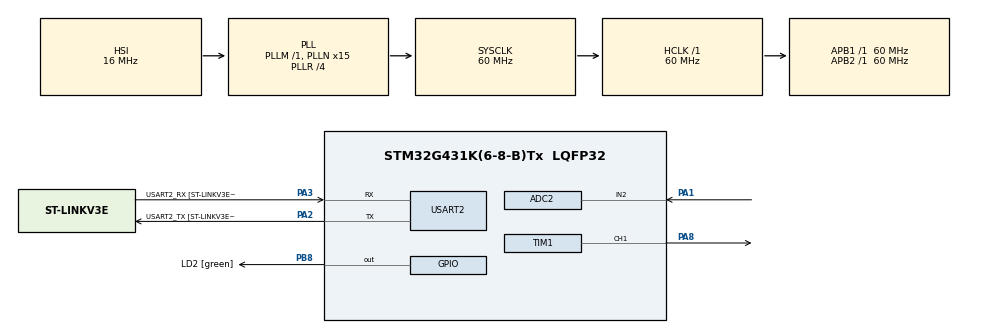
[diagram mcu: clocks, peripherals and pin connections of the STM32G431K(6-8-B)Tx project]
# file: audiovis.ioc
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ADC2.Channel-4\#ChannelRegularConversion=ADC_CHANNEL_2
ADC2.ClockPrescaler=ADC_CLOCK_ASYNC_DIV1
ADC2.ContinuousConvMode=DISABLE
ADC2.DMAContinuousRequests=ENABLE
ADC2.EnableRegularConversion=ENABLE
ADC2.ExternalTrigConv=ADC_EXTERNALTRIG_T2_TRGO
ADC2.ExternalTrigConvEdge=ADC_EXTERNALTRIGCONVEDGE_RISING
ADC2.NbrOfConversionFlag=1
ADC2.OffsetNumber-4\#ChannelRegularConversion=ADC_OFFSET_NONE
ADC2.OversamplingMode=DISABLE
ADC2.Rank-4\#ChannelRegularConversion=1
ADC2.SamplingTime-4\#ChannelRegularConversion=ADC_SAMPLETIME_2CYCLES_5
Dma.ADC2.0.Direction=DMA_PERIPH_TO_MEMORY
Dma.ADC2.0.EventEnable=DISABLE
Dma.ADC2.0.Instance=DMA1_Channel2
Dma.ADC2.0.MemDataAlignment=DMA_MDATAALIGN_HALFWORD
Dma.ADC2.0.MemInc=DMA_MINC_ENABLE
Dma.ADC2.0.Mode=DMA_CIRCULAR
Dma.ADC2.0.PeriphDataAlignment=DMA_PDATAALIGN_HALFWORD
Dma.ADC2.0.PeriphInc=DMA_PINC_DISABLE
Dma.ADC2.0.Polarity=HAL_DMAMUX_REQ_GEN_RISING
Dma.ADC2.0.Priority=DMA_PRIORITY_HIGH
Dma.ADC2.0.RequestNumber=1
Dma.ADC2.0.SignalID=NONE
Dma.ADC2.0.SyncEnable=DISABLE
Dma.ADC2.0.SyncPolarity=HAL_DMAMUX_SYNC_NO_EVENT
Dma.ADC2.0.SyncRequestNumber=1
Dma.ADC2.0.SyncSignalID=NONE
Dma.Request0=ADC2
Dma.Request1=TIM1_CH1
Dma.TIM1_CH1.1.Direction=DMA_MEMORY_TO_PERIPH
Dma.TIM1_CH1.1.EventEnable=DISABLE
Dma.TIM1_CH1.1.Instance=DMA1_Channel1
Dma.TIM1_CH1.1.MemDataAlignment=DMA_MDATAALIGN_HALFWORD
Dma.TIM1_CH1.1.MemInc=DMA_MINC_ENABLE
Dma.TIM1_CH1.1.Mode=DMA_NORMAL
Dma.TIM1_CH1.1.PeriphDataAlignment=DMA_PDATAALIGN_HALFWORD
Dma.TIM1_CH1.1.PeriphInc=DMA_PINC_DISABLE
Dma.TIM1_CH1.1.Polarity=HAL_DMAMUX_REQ_GEN_RISING
Dma.TIM1_CH1.1.Priority=DMA_PRIORITY_HIGH
Dma.TIM1_CH1.1.RequestNumber=1
Dma.TIM1_CH1.1.SignalID=NONE
Dma.TIM1_CH1.1.SyncEnable=DISABLE
Dma.TIM1_CH1.1.SyncPolarity=HAL_DMAMUX_SYNC_NO_EVENT
Dma.TIM1_CH1.1.SyncRequestNumber=1
Dma.TIM1_CH1.1.SyncSignalID=NONE
Mcu.Family=STM32G4
Mcu.Name=STM32G431K(6-8-B)Tx
Mcu.Package=LQFP32
NVIC.DMA1_Channel1_IRQn=true\:0\:0\:false\:false\:true\:false\:true\:true
NVIC.DMA1_Channel2_IRQn=true\:0\:0\:false\:false\:true\:false\:true\:true
NVIC.PriorityGroup=NVIC_PRIORITYGROUP_4
PA1.Mode=IN2-Single-Ended
PA1.Signal=ADC2_IN2
PA13.GPIO_Label=T_SWDIO
PA13.Mode=Serial_Wire
PA13.Signal=SYS_JTMS-SWDIO
PA14.GPIO_Label=T_SWCLK
PA14.Mode=Serial_Wire
PA14.Signal=SYS_JTCK-SWCLK
PA2.GPIO_Label=USART2_TX [ST-LINKV3E_VCP_RX]
PA2.Mode=Asynchronous
PA2.Signal=USART2_TX
PA3.GPIO_Label=USART2_RX [ST-LINKV3E_VCP_TX]
PA3.Mode=Asynchronous
PA3.Signal=USART2_RX
PA8.Signal=S_TIM1_CH1
PB3.GPIO_Label=T_SWO
PB3.Signal=SYS_JTDO-SWO
PB8-BOOT0.GPIO_Label=LD2 [green]
PB8-BOOT0.Signal=GPIO_Output
ProjectManager.HeapSize=0x200
ProjectManager.StackSize=0x400
ProjectManager.TargetToolchain=STM32CubeIDE
RCC.ADC12Freq_Value=60000000
RCC.AHBFreq_Value=60000000
RCC.APB1Freq_Value=60000000
RCC.APB1TimFreq_Value=60000000
RCC.APB2Freq_Value=60000000
RCC.APB2TimFreq_Value=60000000
RCC.CortexFreq_Value=60000000
RCC.EXTERNAL_CLOCK_VALUE=12288000
RCC.HCLKFreq_Value=60000000
RCC.HSE_VALUE=8000000
RCC.HSI48_VALUE=48000000
RCC.HSI_VALUE=16000000
RCC.LSE_VALUE=32768
RCC.PLLN=15
RCC.PLLR=RCC_PLLR_DIV4
RCC.SYSCLKFreq_VALUE=60000000
RCC.SYSCLKSource=RCC_SYSCLKSOURCE_PLLCLK
RCC.USBFreq_Value=120000000
RCC.VCOOutputFreq_Value=240000000
SH.S_TIM1_CH1.0=TIM1_CH1,PWM Generation1 CH1
TIM1.Channel-PWM\ Generation1\ CH1=TIM_CHANNEL_1
TIM1.PeriodNoDither=75-1
TIM2.PeriodNoDither=1814
TIM2.TIM_MasterOutputTrigger=TIM_TRGO_UPDATE
USART2.VirtualMode-Asynchronous=VM_ASYNC
USART2.WordLength=WORDLENGTH_8B
VP_TIM1_VS_ClockSourceINT.Mode=Internal
VP_TIM2_VS_ClockSourceINT.Mode=Internal
board=NUCLEO-G431KB

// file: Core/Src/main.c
/* USER CODE BEGIN Header */
/**
 ******************************************************************************
 * @file           : main.c
 * @brief          : Main program body
 ******************************************************************************
 * @attention
 *
 * Copyright (c) 2023 STMicroelectronics.
 * All rights reserved.
 *
 * This software is licensed under terms that can be found in the LICENSE file
 * in the root directory of this software component.
 * If no LICENSE file comes with this software, it is provided AS-IS.
 *
 ******************************************************************************
 */
/* USER CODE END Header */
#include "main.h"

#include "utils.h"

#include "colour.h"

/* USER CODE BEGIN Includes */
#include <stdio.h>
#include <stdlib.h>

#define ARM_MATH_CM4 1
#include "arm_math.h"

/* USER CODE END Includes */

/* USER CODE BEGIN PM */

// Make printf work:
#ifdef __GNUC__
#define PUTCHAR_PROTOTYPE int __io_putchar(int ch)
#else
#define PUTCHAR_PROTOTYPE int fputc(int ch, FILE *f)
#endif

// how many LEDs are there in the strip
#define LED_COUNT 30

#define ADC_BUF_LEN 1024

#define FFT_BUF_LEN 512 // TODO: try increasing this

// visualisation
#define FFT_FREQUENCY_MIN 50.0     // the lower frequency bound we care about
#define FFT_FREQUENCY_MAX 1500.0    // the upper frequency bound we care about

#define SPECTRUM_LEN FFT_BUF_LEN / 2 - 1  // -1 because we ignore the first frequency bin
#define SPECTRUM_MAGNITUDE_MIN 0.001
#define SPECTRUM_MAGNITUDE_MAX 1.0
#define LED_FADE_RATE 2.5 // rate at which to reduce the magnitude to zero when there's no new signal (1/s)

/* USER CODE END PM */

ADC_HandleTypeDef hadc2;
DMA_HandleTypeDef hdma_adc2;

TIM_HandleTypeDef htim1;
TIM_HandleTypeDef htim2;
DMA_HandleTypeDef hdma_tim1_ch1;

UART_HandleTypeDef huart2;

/* USER CODE BEGIN PV */

// ==== LED stuff ====
uint8_t led_data[LED_COUNT][4];
// 24 = 1 byte each for R, G, and B, 50 is empty space at end to indicate end of data
uint16_t pwm_data[(24 * LED_COUNT) + 50];
volatile uint8_t pwm_dma_sent_flag = 0;

// ==== Audio sampling ====
uint16_t adc_buffer[ADC_BUF_LEN];
volatile uint8_t adc_half_complete_flag = 0;

// ==== FFT calculation ====

arm_rfft_fast_instance_f32 fft_handler;

// array of FFT results, in the form [real, imaginary, real, imaginary, ...]
float32_t fft_result[FFT_BUF_LEN];

// array of the the real components to perform the fft on
float32_t fft_buffer[FFT_BUF_LEN];
uint32_t fft_buffer_index = 0;

// indicates that an FFT has been performed on the fft_buffer and fft_results is now populated
volatile uint8_t fft_complete_flag = 0;

typedef struct spectrum_t {
  float32_t power[SPECTRUM_LEN];
  float32_t frequency[SPECTRUM_LEN];
  float32_t frequency_bin_width;
  float32_t power_sum;
  size_t max_index;
} spectrum_t;

typedef void (*spectrum_colour_palette_t) (int, float32_t, int *, int *, int *);

/* USER CODE END PV */

void SystemClock_Config(void);
static void MX_GPIO_Init(void);
static void MX_DMA_Init(void);
static void MX_USART2_UART_Init(void);
static void MX_ADC2_Init(void);
static void MX_TIM1_Init(void);
static void MX_TIM2_Init(void);

/* USER CODE BEGIN 0 */

/**
  * @brief  Retargets the C library printf function to the USART.
  * @param  None
  * @retval None
  */
PUTCHAR_PROTOTYPE
{
  HAL_UART_Transmit(&huart2, (uint8_t *)&ch, 1, HAL_MAX_DELAY);
  return ch;
}

void ws2812_send(void) {
  uint32_t indx = 0;
  uint32_t color;

  for (int i = 0; i < LED_COUNT; i++) {
    color = ((led_data[i][1] << 16) | (led_data[i][2] << 8) | (led_data[i][3]));
    for (int i = 23; i >= 0; i--) {
      if (color & (1 << i)) { // if current bit is set, set the pwm duty LONG, else SHORT
        pwm_data[indx] = 48; // 0.8us. 0.64. Full CCR == 800 KHz == 1.25us (time period of led pwm signal)
      } else {
        pwm_data[indx] = 24;  // 0.4us. 0.32.
      }
      indx++;
    }
  }

  for (int i = 0; i < 50; i++) {
    pwm_data[indx] = 0;
    indx++;
  }

  if (HAL_TIM_PWM_Start_DMA(&htim1, TIM_CHANNEL_1, (uint32_t*) pwm_data, 24 * LED_COUNT + 50) != HAL_OK) {
    Error_Handler();
  }
  while (!pwm_dma_sent_flag) {
  };
  pwm_dma_sent_flag = 0;
}

// set the led colour channel values
void set_led(uint8_t i, int red, int green, int blue) {
  led_data[i][0] = i;
  led_data[i][1] = green;
  led_data[i][2] = red;
  led_data[i][3] = blue;
}

// increase the led colour channel values
void add_led(uint8_t i, int red, int green, int blue) {
  led_data[i][0] = i;
  led_data[i][1] = max(0, min(255, led_data[i][1] + green));
  led_data[i][2] = max(0, min(255, led_data[i][2] + red));
  led_data[i][3] = max(0, min(255, led_data[i][3] + blue));
}

// turn all the leds off
void reset_leds() {
  for (uint8_t i = 0; i < LED_COUNT; i++) {
    set_led(i, 0, 0, 0);
  }
}

// performs a groovy initialisation sequence for the led strip
//void led_init_sequence_1() {
//  for (int i = 0; i < LED_COUNT; i++) {
//    set_led(i, (i % 1) == 0 ? 255 : 0, (i % 2) == 0 ? 255 : 0, (i % 3) == 0 ? 255 : 0);
//    HAL_Delay(10);
//    ws2812_send();
//  }
//  ws2812_send();
//  for (int i = 0; i < LED_COUNT; i++) {
//    set_led(i, 0, 0, 0);
//    HAL_Delay(10);
//    ws2812_send();
//  }
//}

void spectrum_colour_palette_1(int led_index, float32_t magnitude, int *red, int *green, int *blue) {
  float brightness = min(1.0f, (magnitude / SPECTRUM_MAGNITUDE_MAX)) * 0.5f; // brightness 0..0.5
  float distance = ((double)led_index / LED_COUNT); // how far along the strip are we? 0..1
  distance = distance * 0.25f; // scale

  // this shifts the colour spectrum along over time at the given speed
  static float colour_offset = 0.0f;
  const float speed = 0.1f;
  colour_offset = (HAL_GetTick() / 1000.0f) * speed;

  float h = (arm_cos_f32(2 * PI * distance + colour_offset) + 1.0) / 2.0;
  float s = 1.0;
  float l = brightness;

  RGB rgb = hsl2rgb(h, s, l);

  *red = rgb.r;
  *green = rgb.g;
  *blue = rgb.b;
}

double linear(double v) {
  return v;
}

/**
 * Maps the frequency from the FFT to the closest LEDs in the strip
 */
void map_frequency_to_leds(spectrum_t *spectrum, size_t index, uint8_t **leds, uint8_t *count) {
  float32_t f = spectrum->frequency[index];
  if (f < FFT_FREQUENCY_MIN || f > FFT_FREQUENCY_MAX) {
    *leds = NULL;
    return;
  }
  const double (*mapping)(double) = &linear;
  const double frequency_range = (mapping(FFT_FREQUENCY_MAX) - mapping(FFT_FREQUENCY_MIN));
  // how far along the strip is this frequency band
  double f_proportion = (mapping(f) - mapping(FFT_FREQUENCY_MIN)) / frequency_range;
  // how far along the strip is the next frequency band
  double next_f_proportion = (mapping(f + spectrum->frequency_bin_width) - mapping(FFT_FREQUENCY_MIN)) / frequency_range;

  uint8_t start = (int8_t)((LED_COUNT - 1) * f_proportion);
  uint8_t end = min(LED_COUNT - 1, max(start + 1, (int8_t)((LED_COUNT - 1) * next_f_proportion)));
  if (start >= end) {
    *leds = NULL;
    return;
  }
  *count = end - start;
  *leds = malloc((size_t)(*count * sizeof(uint8_t)));
  for (uint8_t i = start, j = 0; i < end; i++, j++) {
    (*leds)[j] = i;
  }
}

/**
 * Maps the frequency from the FFT to the closest LEDs in the strip going outwards from the central LED
 * symmetrically.
 */
void map_frequency_to_leds_mirrored(spectrum_t *spectrum, size_t index, uint8_t **leds, uint8_t *count) {
  float32_t f = spectrum->frequency[index];
  f = min(FFT_FREQUENCY_MAX, f);
  f = max(FFT_FREQUENCY_MIN, f);
  const double (*mapping)(double) = &linear;
  const double frequency_range = (mapping(FFT_FREQUENCY_MAX) - mapping(FFT_FREQUENCY_MIN));
  // how far along the strip is this frequency band
  double f_proportion = (mapping(f) - mapping(FFT_FREQUENCY_MIN)) / frequency_range;
  // how far along the strip is the next frequency band
  double next_f_proportion = (mapping(f + spectrum->frequency_bin_width) - mapping(FFT_FREQUENCY_MIN)) / frequency_range;

  uint8_t start = (int8_t)((LED_COUNT / 2 - 1) * f_proportion);
  uint8_t end = min(LED_COUNT / 2 - 1, max(start + 1, (int8_t)((LED_COUNT / 2 - 1) * next_f_proportion)));
  if (start >= end) {
    *leds = NULL;
    return;
  }
  *count = (end - start) * 2;
  *leds = malloc((size_t)(*count * sizeof(uint8_t)));
  for (uint8_t i = start, j = 0; i < end; i++, j+=2) {
    (*leds)[j] = LED_COUNT / 2 - i;
    (*leds)[j + 1] = LED_COUNT / 2 - 2 + i;
  }
}

void perform_fft() {
//  int before = HAL_GetTick();
  arm_rfft_fast_f32(&fft_handler, fft_buffer, fft_result, 0);
//  int elapsed = HAL_GetTick() - before;
//  printf("elapsed: %d: ", elapsed);
  fft_complete_flag = 1;
}

void process_adc(uint8_t half_complete_flag) {
  if (half_complete_flag == adc_half_complete_flag) {
    // buffer overrun - we didn't process quickly enough
    // Error_Handler();
    return; // ignore this for now for debugging purposes
  }
  uint32_t offset = 0;
  if (half_complete_flag == 0) {
    // second half of the data has finished
    offset = ADC_BUF_LEN / 2;
  }
  // copy into the fft buffer
  for (uint32_t i = offset; i < offset + ADC_BUF_LEN / 2; i++) {
    fft_buffer[fft_buffer_index] = (float)adc_buffer[i] / 65535;
    fft_buffer_index++;
    if (fft_buffer_index == FFT_BUF_LEN) {
      fft_buffer_index = 0;
      perform_fft();
    }
  }
  adc_half_complete_flag = half_complete_flag;
}

void collect_fft_result(spectrum_t *spectrum) {
  float peak_magnitude = 0.0f;
  spectrum->power_sum = 0.0f;
  for (uint32_t i = 1; i < FFT_BUF_LEN - 1; i+=2) { // skip band 1
    float magnitude_sqrd = fft_result[i] * fft_result[i] + fft_result[i + 1] * fft_result[i + 1];
    spectrum->power[i / 2 - 1] = magnitude_sqrd;
    spectrum->power_sum += magnitude_sqrd;
    if (magnitude_sqrd > peak_magnitude) {
      peak_magnitude = magnitude_sqrd;
      spectrum->max_index = i / 2 - 1;
    }
  }
}

// HAL callbacks

void HAL_TIM_PWM_PulseFinishedCallback(TIM_HandleTypeDef *htim) {
  if (htim == &htim1) {
    if (HAL_TIM_PWM_Stop_DMA(&htim1, TIM_CHANNEL_1) != HAL_OK) {
      Error_Handler();
    }
    pwm_dma_sent_flag = 1;
  }
}

void HAL_ADC_ConvHalfCpltCallback(ADC_HandleTypeDef *hadc) {
  if (hadc == &hadc2) {
    process_adc(1);
  }
}

void HAL_ADC_ConvCpltCallback(ADC_HandleTypeDef *hadc) {
  if (hadc == &hadc2) {
    process_adc(0);
  }
}

/* USER CODE END 0 */

int main(void)
{

  /* MCU Configuration--------------------------------------------------------*/

  /* Reset of all peripherals, Initializes the Flash interface and the Systick. */
  HAL_Init();

  /* Configure the system clock */
  SystemClock_Config();

  /* Initialize all configured peripherals */
  MX_GPIO_Init();
  MX_DMA_Init();
  MX_USART2_UART_Init();
  MX_ADC2_Init();
  MX_TIM1_Init();
  MX_TIM2_Init();
  /* USER CODE BEGIN 2 */

  // Initialise FFT handler
  arm_rfft_fast_init_f32(&fft_handler, FFT_BUF_LEN);

  // ADC timer
  HAL_TIM_Base_Start(&htim2);
  HAL_ADCEx_Calibration_Start(&hadc2, ADC_SINGLE_ENDED);
  HAL_ADC_Start_DMA(&hadc2, (uint32_t*) &adc_buffer, ADC_BUF_LEN);

  double fft_sample_rate = (double)HAL_RCC_GetSysClockFreq() / (htim2.Init.Period + 1);
  printf("...\n\n\n\n\n");
  printf("FFT sample rate: %f\r\n", fft_sample_rate);

  spectrum_t spectrum;
  spectrum.frequency_bin_width = fft_sample_rate / FFT_BUF_LEN;
  // pre-calculate the frequencies
  for (uint32_t i = 1; i < FFT_BUF_LEN / 2; i++) { // skip frequency band 1
    spectrum.frequency[i - 1] = (float)(i) * spectrum.frequency_bin_width;
  }

  spectrum_colour_palette_t colour_palette = &spectrum_colour_palette_1;

  // Disabled for now to save flash storage space
//  led_init_sequence_1();

  /* USER CODE END 2 */

  /* Infinite loop */
  /* USER CODE BEGIN WHILE */
  int last_tick = HAL_GetTick();
  while (1) {
    /* USER CODE END WHILE */

    /* USER CODE BEGIN 3 */

    if (fft_complete_flag) {
      fft_complete_flag = 0;

      // populate the spectrum struct
      collect_fft_result(&spectrum);

      // dynamic sensitivity (normalise the power)
//      float normalisation_factor = 0.001f * (FFT_BUF_LEN / 2) / (max(0.004, spectrum.power_sum));

      for (uint32_t i = 0; i < SPECTRUM_LEN; i++) {
//        spectrum.power[i] *= normalisation_factor;
        uint8_t* leds = NULL;
        uint8_t count;
        map_frequency_to_leds_mirrored(&spectrum, i, &leds, &count);
        if (spectrum.power[i] >= SPECTRUM_MAGNITUDE_MIN) {
          int r;
          int g;
          int b;
          colour_palette(i, spectrum.power[i], &r, &g, &b);
          for (uint8_t i = 0; i < count; i++) {
            add_led(leds[i], r, g, b);
          }
        }
        if (leds != NULL) {
          free(leds);
        }
      }
//      printf("%.2f, %.2f\r\n", spectrum.frequency[spectrum.max_index], spectrum.power[spectrum.max_index]);
    }

    // fade out
    double dt = HAL_GetTick() / 1000.0 - last_tick / 1000.0;
    for (uint32_t i = 0; i < LED_COUNT; i++) {
      add_led(i, -LED_FADE_RATE * dt * 255, -LED_FADE_RATE * dt * 255, -LED_FADE_RATE * dt * 255);
    }

    // update the leds
    ws2812_send();

    last_tick = HAL_GetTick();
  }
  /* USER CODE END 3 */
}

void SystemClock_Config(void)
{
  RCC_OscInitTypeDef RCC_OscInitStruct = {0};
  RCC_ClkInitTypeDef RCC_ClkInitStruct = {0};

  /** Configure the main internal regulator output voltage
  */
  HAL_PWREx_ControlVoltageScaling(PWR_REGULATOR_VOLTAGE_SCALE1);

  /** Initializes the RCC Oscillators according to the specified parameters
  * in the RCC_OscInitTypeDef structure.
  */
  RCC_OscInitStruct.OscillatorType = RCC_OSCILLATORTYPE_HSI;
  RCC_OscInitStruct.HSIState = RCC_HSI_ON;
  RCC_OscInitStruct.HSICalibrationValue = RCC_HSICALIBRATION_DEFAULT;
  RCC_OscInitStruct.PLL.PLLState = RCC_PLL_ON;
  RCC_OscInitStruct.PLL.PLLSource = RCC_PLLSOURCE_HSI;
  RCC_OscInitStruct.PLL.PLLM = RCC_PLLM_DIV1;
  RCC_OscInitStruct.PLL.PLLN = 15;
  RCC_OscInitStruct.PLL.PLLP = RCC_PLLP_DIV2;
  RCC_OscInitStruct.PLL.PLLQ = RCC_PLLQ_DIV2;
  RCC_OscInitStruct.PLL.PLLR = RCC_PLLR_DIV4;
  if (HAL_RCC_OscConfig(&RCC_OscInitStruct) != HAL_OK)
  {
    Error_Handler();
  }

  /** Initializes the CPU, AHB and APB buses clocks
  */
  RCC_ClkInitStruct.ClockType = RCC_CLOCKTYPE_HCLK|RCC_CLOCKTYPE_SYSCLK
                              |RCC_CLOCKTYPE_PCLK1|RCC_CLOCKTYPE_PCLK2;
  RCC_ClkInitStruct.SYSCLKSource = RCC_SYSCLKSOURCE_PLLCLK;
  RCC_ClkInitStruct.AHBCLKDivider = RCC_SYSCLK_DIV1;
  RCC_ClkInitStruct.APB1CLKDivider = RCC_HCLK_DIV1;
  RCC_ClkInitStruct.APB2CLKDivider = RCC_HCLK_DIV1;

  if (HAL_RCC_ClockConfig(&RCC_ClkInitStruct, FLASH_LATENCY_1) != HAL_OK)
  {
    Error_Handler();
  }
}

static void MX_ADC2_Init(void)
{

  ADC_ChannelConfTypeDef sConfig = {0};

  /** Common config
  */
  hadc2.Instance = ADC2;
  hadc2.Init.ClockPrescaler = ADC_CLOCK_ASYNC_DIV1;
  hadc2.Init.Resolution = ADC_RESOLUTION_12B;
  hadc2.Init.DataAlign = ADC_DATAALIGN_RIGHT;
  hadc2.Init.GainCompensation = 0;
  hadc2.Init.ScanConvMode = ADC_SCAN_DISABLE;
  hadc2.Init.EOCSelection = ADC_EOC_SINGLE_CONV;
  hadc2.Init.LowPowerAutoWait = DISABLE;
  hadc2.Init.ContinuousConvMode = DISABLE;
  hadc2.Init.NbrOfConversion = 1;
  hadc2.Init.DiscontinuousConvMode = DISABLE;
  hadc2.Init.ExternalTrigConv = ADC_EXTERNALTRIG_T2_TRGO;
  hadc2.Init.ExternalTrigConvEdge = ADC_EXTERNALTRIGCONVEDGE_RISING;
  hadc2.Init.DMAContinuousRequests = ENABLE;
  hadc2.Init.Overrun = ADC_OVR_DATA_PRESERVED;
  hadc2.Init.OversamplingMode = DISABLE;
  if (HAL_ADC_Init(&hadc2) != HAL_OK)
  {
    Error_Handler();
  }

  /** Configure Regular Channel
  */
  sConfig.Channel = ADC_CHANNEL_2;
  sConfig.Rank = ADC_REGULAR_RANK_1;
  sConfig.SamplingTime = ADC_SAMPLETIME_2CYCLES_5;
  sConfig.SingleDiff = ADC_SINGLE_ENDED;
  sConfig.OffsetNumber = ADC_OFFSET_NONE;
  sConfig.Offset = 0;
  if (HAL_ADC_ConfigChannel(&hadc2, &sConfig) != HAL_OK)
  {
    Error_Handler();
  }

}

static void MX_TIM1_Init(void)
{

  TIM_ClockConfigTypeDef sClockSourceConfig = {0};
  TIM_MasterConfigTypeDef sMasterConfig = {0};
  TIM_OC_InitTypeDef sConfigOC = {0};
  TIM_BreakDeadTimeConfigTypeDef sBreakDeadTimeConfig = {0};

  htim1.Instance = TIM1;
  htim1.Init.Prescaler = 0;
  htim1.Init.CounterMode = TIM_COUNTERMODE_UP;
  htim1.Init.Period = 74;
  htim1.Init.ClockDivision = TIM_CLOCKDIVISION_DIV1;
  htim1.Init.RepetitionCounter = 0;
  htim1.Init.AutoReloadPreload = TIM_AUTORELOAD_PRELOAD_DISABLE;
  if (HAL_TIM_Base_Init(&htim1) != HAL_OK)
  {
    Error_Handler();
  }
  sClockSourceConfig.ClockSource = TIM_CLOCKSOURCE_INTERNAL;
  if (HAL_TIM_ConfigClockSource(&htim1, &sClockSourceConfig) != HAL_OK)
  {
    Error_Handler();
  }
  if (HAL_TIM_PWM_Init(&htim1) != HAL_OK)
  {
    Error_Handler();
  }
  sMasterConfig.MasterOutputTrigger = TIM_TRGO_RESET;
  sMasterConfig.MasterOutputTrigger2 = TIM_TRGO2_RESET;
  sMasterConfig.MasterSlaveMode = TIM_MASTERSLAVEMODE_DISABLE;
  if (HAL_TIMEx_MasterConfigSynchronization(&htim1, &sMasterConfig) != HAL_OK)
  {
    Error_Handler();
  }
  sConfigOC.OCMode = TIM_OCMODE_PWM1;
  sConfigOC.Pulse = 0;
  sConfigOC.OCPolarity = TIM_OCPOLARITY_HIGH;
  sConfigOC.OCNPolarity = TIM_OCNPOLARITY_HIGH;
  sConfigOC.OCFastMode = TIM_OCFAST_DISABLE;
  sConfigOC.OCIdleState = TIM_OCIDLESTATE_RESET;
  sConfigOC.OCNIdleState = TIM_OCNIDLESTATE_RESET;
  if (HAL_TIM_PWM_ConfigChannel(&htim1, &sConfigOC, TIM_CHANNEL_1) != HAL_OK)
  {
    Error_Handler();
  }
  sBreakDeadTimeConfig.OffStateRunMode = TIM_OSSR_DISABLE;
  sBreakDeadTimeConfig.OffStateIDLEMode = TIM_OSSI_DISABLE;
  sBreakDeadTimeConfig.LockLevel = TIM_LOCKLEVEL_OFF;
  sBreakDeadTimeConfig.DeadTime = 0;
  sBreakDeadTimeConfig.BreakState = TIM_BREAK_DISABLE;
  sBreakDeadTimeConfig.BreakPolarity = TIM_BREAKPOLARITY_HIGH;
  sBreakDeadTimeConfig.BreakFilter = 0;
  sBreakDeadTimeConfig.BreakAFMode = TIM_BREAK_AFMODE_INPUT;
  sBreakDeadTimeConfig.Break2State = TIM_BREAK2_DISABLE;
  sBreakDeadTimeConfig.Break2Polarity = TIM_BREAK2POLARITY_HIGH;
  sBreakDeadTimeConfig.Break2Filter = 0;
  sBreakDeadTimeConfig.Break2AFMode = TIM_BREAK_AFMODE_INPUT;
  sBreakDeadTimeConfig.AutomaticOutput = TIM_AUTOMATICOUTPUT_DISABLE;
  if (HAL_TIMEx_ConfigBreakDeadTime(&htim1, &sBreakDeadTimeConfig) != HAL_OK)
  {
    Error_Handler();
  }
  HAL_TIM_MspPostInit(&htim1);

}

static void MX_TIM2_Init(void)
{

  TIM_ClockConfigTypeDef sClockSourceConfig = {0};
  TIM_MasterConfigTypeDef sMasterConfig = {0};

  htim2.Instance = TIM2;
  htim2.Init.Prescaler = 0;
  htim2.Init.CounterMode = TIM_COUNTERMODE_UP;
  htim2.Init.Period = 1814;
  htim2.Init.ClockDivision = TIM_CLOCKDIVISION_DIV1;
  htim2.Init.AutoReloadPreload = TIM_AUTORELOAD_PRELOAD_DISABLE;
  if (HAL_TIM_Base_Init(&htim2) != HAL_OK)
  {
    Error_Handler();
  }
  sClockSourceConfig.ClockSource = TIM_CLOCKSOURCE_INTERNAL;
  if (HAL_TIM_ConfigClockSource(&htim2, &sClockSourceConfig) != HAL_OK)
  {
    Error_Handler();
  }
  sMasterConfig.MasterOutputTrigger = TIM_TRGO_UPDATE;
  sMasterConfig.MasterSlaveMode = TIM_MASTERSLAVEMODE_DISABLE;
  if (HAL_TIMEx_MasterConfigSynchronization(&htim2, &sMasterConfig) != HAL_OK)
  {
    Error_Handler();
  }

}

static void MX_USART2_UART_Init(void)
{

  huart2.Instance = USART2;
  huart2.Init.BaudRate = 115200;
  huart2.Init.WordLength = UART_WORDLENGTH_8B;
  huart2.Init.StopBits = UART_STOPBITS_1;
  huart2.Init.Parity = UART_PARITY_NONE;
  huart2.Init.Mode = UART_MODE_TX_RX;
  huart2.Init.HwFlowCtl = UART_HWCONTROL_NONE;
  huart2.Init.OverSampling = UART_OVERSAMPLING_16;
  huart2.Init.OneBitSampling = UART_ONE_BIT_SAMPLE_DISABLE;
  huart2.Init.ClockPrescaler = UART_PRESCALER_DIV1;
  huart2.AdvancedInit.AdvFeatureInit = UART_ADVFEATURE_NO_INIT;
  if (HAL_UART_Init(&huart2) != HAL_OK)
  {
    Error_Handler();
  }
  if (HAL_UARTEx_SetTxFifoThreshold(&huart2, UART_TXFIFO_THRESHOLD_1_8) != HAL_OK)
  {
    Error_Handler();
  }
  if (HAL_UARTEx_SetRxFifoThreshold(&huart2, UART_RXFIFO_THRESHOLD_1_8) != HAL_OK)
  {
    Error_Handler();
  }
  if (HAL_UARTEx_DisableFifoMode(&huart2) != HAL_OK)
  {
    Error_Handler();
  }

}

static void MX_DMA_Init(void)
{

  /* DMA controller clock enable */
  __HAL_RCC_DMAMUX1_CLK_ENABLE();
  __HAL_RCC_DMA1_CLK_ENABLE();

  /* DMA interrupt init */
  /* DMA1_Channel1_IRQn interrupt configuration */
  HAL_NVIC_SetPriority(DMA1_Channel1_IRQn, 0, 0);
  HAL_NVIC_EnableIRQ(DMA1_Channel1_IRQn);
  /* DMA1_Channel2_IRQn interrupt configuration */
  HAL_NVIC_SetPriority(DMA1_Channel2_IRQn, 0, 0);
  HAL_NVIC_EnableIRQ(DMA1_Channel2_IRQn);

}

static void MX_GPIO_Init(void)
{
  GPIO_InitTypeDef GPIO_InitStruct = {0};

  /* GPIO Ports Clock Enable */
  __HAL_RCC_GPIOA_CLK_ENABLE();
  __HAL_RCC_GPIOB_CLK_ENABLE();

  /*Configure GPIO pin Output Level */
  HAL_GPIO_WritePin(LD2_GPIO_Port, LD2_Pin, GPIO_PIN_RESET);

  /*Configure GPIO pin : LD2_Pin */
  GPIO_InitStruct.Pin = LD2_Pin;
  GPIO_InitStruct.Mode = GPIO_MODE_OUTPUT_PP;
  GPIO_InitStruct.Pull = GPIO_NOPULL;
  GPIO_InitStruct.Speed = GPIO_SPEED_FREQ_LOW;
  HAL_GPIO_Init(LD2_GPIO_Port, &GPIO_InitStruct);

}

void Error_Handler(void)
{
  /* USER CODE BEGIN Error_Handler_Debug */
  /* User can add his own implementation to report the HAL error return state */
  __disable_irq();
  char *error_msg = "error\n";
  HAL_UART_Transmit(&huart2, (uint8_t *) error_msg, strlen(error_msg) / sizeof(char), HAL_MAX_DELAY);
  while (1) {
    HAL_GPIO_WritePin(LD2_GPIO_Port, LD2_Pin, GPIO_PIN_SET);
    HAL_Delay(1000); // ms
    HAL_GPIO_WritePin(LD2_GPIO_Port, LD2_Pin, GPIO_PIN_RESET);
    HAL_Delay(1000); // ms
  }
  /* USER CODE END Error_Handler_Debug */
}
